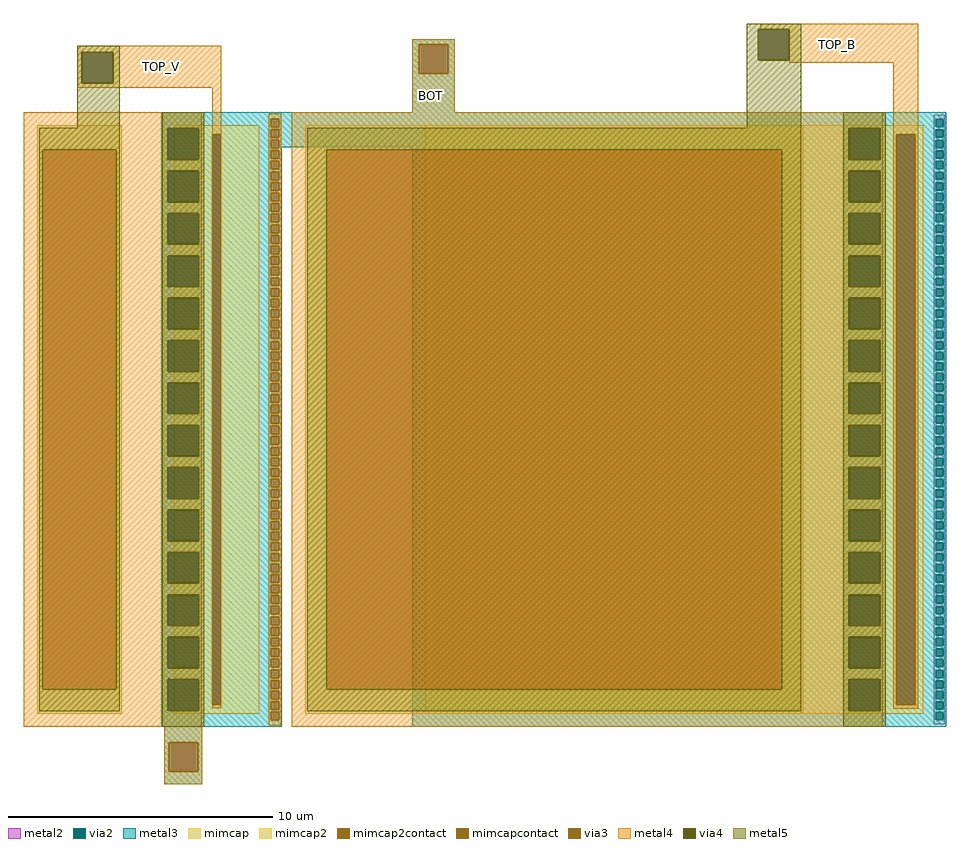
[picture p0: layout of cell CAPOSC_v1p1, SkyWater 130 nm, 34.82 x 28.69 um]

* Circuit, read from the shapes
.subckt CAPOSC_v1p1 BOT TOP_V TOP_B
XC1 TOP_V BOT sky130_fd_pr__cap_mim_m3_2 w=3.2 l=22.2
XC2 TOP_V BOT sky130_fd_pr__cap_mim_m3_1 w=3.2 l=22.2
XC3 TOP_B BOT sky130_fd_pr__cap_mim_m3_2 w=18.8 l=22.2
XC4 TOP_B BOT sky130_fd_pr__cap_mim_m3_1 w=18.8 l=22.2
.ends

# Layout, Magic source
magic
tech sky130A
magscale 1 2
<< metal2 >>
rect 9938 4588 10022 4622
rect 9938 4532 9952 4588
rect 10008 4532 10022 4588
rect 9938 4508 10022 4532
rect 9938 4452 9952 4508
rect 10008 4452 10022 4508
rect 9938 4428 10022 4452
rect 9938 4372 9952 4428
rect 10008 4372 10022 4428
rect 9938 4348 10022 4372
rect 9938 4292 9952 4348
rect 10008 4292 10022 4348
rect 9938 4268 10022 4292
rect 9938 4212 9952 4268
rect 10008 4212 10022 4268
rect 9938 4188 10022 4212
rect 9938 4132 9952 4188
rect 10008 4132 10022 4188
rect 9938 4108 10022 4132
rect 9938 4052 9952 4108
rect 10008 4052 10022 4108
rect 9938 4028 10022 4052
rect 9938 3972 9952 4028
rect 10008 3972 10022 4028
rect 9938 3948 10022 3972
rect 9938 3892 9952 3948
rect 10008 3892 10022 3948
rect 9938 3868 10022 3892
rect 9938 3812 9952 3868
rect 10008 3812 10022 3868
rect 9938 3788 10022 3812
rect 9938 3732 9952 3788
rect 10008 3732 10022 3788
rect 9938 3708 10022 3732
rect 9938 3652 9952 3708
rect 10008 3652 10022 3708
rect 9938 3628 10022 3652
rect 9938 3572 9952 3628
rect 10008 3572 10022 3628
rect 9938 3548 10022 3572
rect 9938 3492 9952 3548
rect 10008 3492 10022 3548
rect 9938 3468 10022 3492
rect 9938 3412 9952 3468
rect 10008 3412 10022 3468
rect 9938 3388 10022 3412
rect 9938 3332 9952 3388
rect 10008 3332 10022 3388
rect 9938 3308 10022 3332
rect 9938 3252 9952 3308
rect 10008 3252 10022 3308
rect 9938 3228 10022 3252
rect 9938 3172 9952 3228
rect 10008 3172 10022 3228
rect 9938 3148 10022 3172
rect 9938 3092 9952 3148
rect 10008 3092 10022 3148
rect 9938 3068 10022 3092
rect 9938 3012 9952 3068
rect 10008 3012 10022 3068
rect 9938 2988 10022 3012
rect 9938 2932 9952 2988
rect 10008 2932 10022 2988
rect 9938 2908 10022 2932
rect 9938 2852 9952 2908
rect 10008 2852 10022 2908
rect 9938 2828 10022 2852
rect 9938 2772 9952 2828
rect 10008 2772 10022 2828
rect 9938 2748 10022 2772
rect 9938 2692 9952 2748
rect 10008 2692 10022 2748
rect 9938 2668 10022 2692
rect 9938 2612 9952 2668
rect 10008 2612 10022 2668
rect 9938 2588 10022 2612
rect 9938 2532 9952 2588
rect 10008 2532 10022 2588
rect 9938 2508 10022 2532
rect 9938 2452 9952 2508
rect 10008 2452 10022 2508
rect 9938 2428 10022 2452
rect 9938 2372 9952 2428
rect 10008 2372 10022 2428
rect 9938 2348 10022 2372
rect 9938 2292 9952 2348
rect 10008 2292 10022 2348
rect 9938 2268 10022 2292
rect 9938 2212 9952 2268
rect 10008 2212 10022 2268
rect 9938 2188 10022 2212
rect 9938 2132 9952 2188
rect 10008 2132 10022 2188
rect 9938 2108 10022 2132
rect 9938 2052 9952 2108
rect 10008 2052 10022 2108
rect 9938 2028 10022 2052
rect 9938 1972 9952 2028
rect 10008 1972 10022 2028
rect 9938 1948 10022 1972
rect 9938 1892 9952 1948
rect 10008 1892 10022 1948
rect 9938 1868 10022 1892
rect 9938 1812 9952 1868
rect 10008 1812 10022 1868
rect 9938 1788 10022 1812
rect 9938 1732 9952 1788
rect 10008 1732 10022 1788
rect 9938 1708 10022 1732
rect 9938 1652 9952 1708
rect 10008 1652 10022 1708
rect 9938 1628 10022 1652
rect 9938 1572 9952 1628
rect 10008 1572 10022 1628
rect 9938 1548 10022 1572
rect 9938 1492 9952 1548
rect 10008 1492 10022 1548
rect 9938 1468 10022 1492
rect 9938 1412 9952 1468
rect 10008 1412 10022 1468
rect 9938 1388 10022 1412
rect 9938 1332 9952 1388
rect 10008 1332 10022 1388
rect 9938 1308 10022 1332
rect 9938 1252 9952 1308
rect 10008 1252 10022 1308
rect 9938 1228 10022 1252
rect 9938 1172 9952 1228
rect 10008 1172 10022 1228
rect 9938 1148 10022 1172
rect 9938 1092 9952 1148
rect 10008 1092 10022 1148
rect 9938 1068 10022 1092
rect 9938 1012 9952 1068
rect 10008 1012 10022 1068
rect 9938 988 10022 1012
rect 9938 932 9952 988
rect 10008 932 10022 988
rect 9938 908 10022 932
rect 9938 852 9952 908
rect 10008 852 10022 908
rect 9938 828 10022 852
rect 9938 772 9952 828
rect 10008 772 10022 828
rect 9938 748 10022 772
rect 9938 692 9952 748
rect 10008 692 10022 748
rect 9938 668 10022 692
rect 9938 612 9952 668
rect 10008 612 10022 668
rect 9938 588 10022 612
rect 9938 532 9952 588
rect 10008 532 10022 588
rect 9938 508 10022 532
rect 9938 452 9952 508
rect 10008 452 10022 508
rect 9938 428 10022 452
rect 9938 372 9952 428
rect 10008 372 10022 428
rect 9938 348 10022 372
rect 9938 292 9952 348
rect 10008 292 10022 348
rect 9938 268 10022 292
rect 9938 212 9952 268
rect 10008 212 10022 268
rect 9938 188 10022 212
rect 9938 132 9952 188
rect 10008 132 10022 188
rect 9938 108 10022 132
rect 9938 52 9952 108
rect 10008 52 10022 108
rect 9938 18 10022 52
<< via2 >>
rect 9952 4532 10008 4588
rect 9952 4452 10008 4508
rect 9952 4372 10008 4428
rect 9952 4292 10008 4348
rect 9952 4212 10008 4268
rect 9952 4132 10008 4188
rect 9952 4052 10008 4108
rect 9952 3972 10008 4028
rect 9952 3892 10008 3948
rect 9952 3812 10008 3868
rect 9952 3732 10008 3788
rect 9952 3652 10008 3708
rect 9952 3572 10008 3628
rect 9952 3492 10008 3548
rect 9952 3412 10008 3468
rect 9952 3332 10008 3388
rect 9952 3252 10008 3308
rect 9952 3172 10008 3228
rect 9952 3092 10008 3148
rect 9952 3012 10008 3068
rect 9952 2932 10008 2988
rect 9952 2852 10008 2908
rect 9952 2772 10008 2828
rect 9952 2692 10008 2748
rect 9952 2612 10008 2668
rect 9952 2532 10008 2588
rect 9952 2452 10008 2508
rect 9952 2372 10008 2428
rect 9952 2292 10008 2348
rect 9952 2212 10008 2268
rect 9952 2132 10008 2188
rect 9952 2052 10008 2108
rect 9952 1972 10008 2028
rect 9952 1892 10008 1948
rect 9952 1812 10008 1868
rect 9952 1732 10008 1788
rect 9952 1652 10008 1708
rect 9952 1572 10008 1628
rect 9952 1492 10008 1548
rect 9952 1412 10008 1468
rect 9952 1332 10008 1388
rect 9952 1252 10008 1308
rect 9952 1172 10008 1228
rect 9952 1092 10008 1148
rect 9952 1012 10008 1068
rect 9952 932 10008 988
rect 9952 852 10008 908
rect 9952 772 10008 828
rect 9952 692 10008 748
rect 9952 612 10008 668
rect 9952 532 10008 588
rect 9952 452 10008 508
rect 9952 372 10008 428
rect 9952 292 10008 348
rect 9952 212 10008 268
rect 9952 132 10008 188
rect 9952 52 10008 108
<< metal3 >>
rect 6000 5154 6320 5190
rect 6000 4930 6048 5154
rect 6272 4930 6320 5154
rect 6000 4640 6320 4930
rect 5016 4588 10032 4640
rect 5016 4532 9952 4588
rect 10008 4532 10032 4588
rect 5016 4508 10032 4532
rect 5016 4452 9952 4508
rect 10008 4452 10032 4508
rect 5016 4428 10032 4452
rect 5016 4374 9952 4428
rect 6000 4372 9952 4374
rect 10008 4372 10032 4428
rect 6000 4348 10032 4372
rect 6000 4292 9952 4348
rect 10008 4292 10032 4348
rect 6000 4268 10032 4292
rect 6000 4212 9952 4268
rect 10008 4212 10032 4268
rect 6000 4188 10032 4212
rect 6000 4132 9952 4188
rect 10008 4132 10032 4188
rect 6000 4108 10032 4132
rect 6000 4052 9952 4108
rect 10008 4052 10032 4108
rect 6000 4028 10032 4052
rect 6000 3972 9952 4028
rect 10008 3972 10032 4028
rect 6000 3948 10032 3972
rect 6000 3892 9952 3948
rect 10008 3892 10032 3948
rect 6000 3868 10032 3892
rect 6000 3812 9952 3868
rect 10008 3812 10032 3868
rect 6000 3788 10032 3812
rect 6000 3732 9952 3788
rect 10008 3732 10032 3788
rect 6000 3708 10032 3732
rect 6000 3652 9952 3708
rect 10008 3652 10032 3708
rect 6000 3628 10032 3652
rect 6000 3572 9952 3628
rect 10008 3572 10032 3628
rect 6000 3548 10032 3572
rect 6000 3492 9952 3548
rect 10008 3492 10032 3548
rect 6000 3468 10032 3492
rect 6000 3412 9952 3468
rect 10008 3412 10032 3468
rect 6000 3388 10032 3412
rect 6000 3332 9952 3388
rect 10008 3332 10032 3388
rect 6000 3308 10032 3332
rect 6000 3252 9952 3308
rect 10008 3252 10032 3308
rect 6000 3228 10032 3252
rect 6000 3172 9952 3228
rect 10008 3172 10032 3228
rect 6000 3148 10032 3172
rect 6000 3092 9952 3148
rect 10008 3092 10032 3148
rect 6000 3068 10032 3092
rect 6000 3012 9952 3068
rect 10008 3012 10032 3068
rect 6000 2988 10032 3012
rect 6000 2932 9952 2988
rect 10008 2932 10032 2988
rect 6000 2908 10032 2932
rect 6000 2852 9952 2908
rect 10008 2852 10032 2908
rect 6000 2828 10032 2852
rect 6000 2772 9952 2828
rect 10008 2772 10032 2828
rect 6000 2748 10032 2772
rect 6000 2692 9952 2748
rect 10008 2692 10032 2748
rect 6000 2668 10032 2692
rect 6000 2612 9952 2668
rect 10008 2612 10032 2668
rect 6000 2588 10032 2612
rect 6000 2532 9952 2588
rect 10008 2532 10032 2588
rect 6000 2508 10032 2532
rect 6000 2452 9952 2508
rect 10008 2452 10032 2508
rect 6000 2428 10032 2452
rect 6000 2372 9952 2428
rect 10008 2372 10032 2428
rect 6000 2348 10032 2372
rect 6000 2292 9952 2348
rect 10008 2292 10032 2348
rect 6000 2268 10032 2292
rect 6000 2212 9952 2268
rect 10008 2212 10032 2268
rect 6000 2188 10032 2212
rect 6000 2132 9952 2188
rect 10008 2132 10032 2188
rect 6000 2108 10032 2132
rect 6000 2052 9952 2108
rect 10008 2052 10032 2108
rect 6000 2028 10032 2052
rect 6000 1972 9952 2028
rect 10008 1972 10032 2028
rect 6000 1948 10032 1972
rect 6000 1892 9952 1948
rect 10008 1892 10032 1948
rect 6000 1868 10032 1892
rect 6000 1812 9952 1868
rect 10008 1812 10032 1868
rect 6000 1788 10032 1812
rect 6000 1732 9952 1788
rect 10008 1732 10032 1788
rect 6000 1708 10032 1732
rect 6000 1652 9952 1708
rect 10008 1652 10032 1708
rect 6000 1628 10032 1652
rect 6000 1572 9952 1628
rect 10008 1572 10032 1628
rect 6000 1548 10032 1572
rect 6000 1492 9952 1548
rect 10008 1492 10032 1548
rect 6000 1468 10032 1492
rect 6000 1412 9952 1468
rect 10008 1412 10032 1468
rect 6000 1388 10032 1412
rect 6000 1332 9952 1388
rect 10008 1332 10032 1388
rect 6000 1308 10032 1332
rect 6000 1252 9952 1308
rect 10008 1252 10032 1308
rect 6000 1228 10032 1252
rect 6000 1172 9952 1228
rect 10008 1172 10032 1228
rect 6000 1148 10032 1172
rect 6000 1092 9952 1148
rect 10008 1092 10032 1148
rect 6000 1068 10032 1092
rect 6000 1012 9952 1068
rect 10008 1012 10032 1068
rect 6000 988 10032 1012
rect 6000 932 9952 988
rect 10008 932 10032 988
rect 6000 908 10032 932
rect 6000 852 9952 908
rect 10008 852 10032 908
rect 6000 828 10032 852
rect 6000 772 9952 828
rect 10008 772 10032 828
rect 6000 748 10032 772
rect 6000 692 9952 748
rect 10008 692 10032 748
rect 6000 668 10032 692
rect 6000 612 9952 668
rect 10008 612 10032 668
rect 6000 588 10032 612
rect 6000 532 9952 588
rect 10008 532 10032 588
rect 6000 508 10032 532
rect 6000 452 9952 508
rect 10008 452 10032 508
rect 6000 428 10032 452
rect 6000 372 9952 428
rect 10008 372 10032 428
rect 6000 348 10032 372
rect 6000 292 9952 348
rect 10008 292 10032 348
rect 6000 268 10032 292
rect 6000 212 9952 268
rect 10008 212 10032 268
rect 6000 188 10032 212
rect 6000 132 9952 188
rect 10008 132 10032 188
rect 6000 108 10032 132
rect 6000 52 9952 108
rect 10008 52 10032 108
rect 4130 -116 4414 2
rect 6000 0 10032 52
rect 4130 -340 4162 -116
rect 4386 -340 4414 -116
rect 4130 -432 4414 -340
<< via3 >>
rect 6048 4930 6272 5154
rect 4162 -340 4386 -116
<< mimcap >>
rect 6100 4472 9860 4540
rect 6100 168 9656 4472
rect 9800 168 9860 4472
rect 6100 100 9860 168
<< mimcapcontact >>
rect 9656 168 9800 4472
<< metal4 >>
rect 8628 5268 9822 5306
rect 6000 5154 6320 5190
rect 3470 5094 4558 5142
rect 3470 4858 3506 5094
rect 3742 4858 4558 5094
rect 3470 4826 4558 4858
rect 4490 4498 4558 4826
rect 6000 4930 6048 5154
rect 6272 4930 6320 5154
rect 8848 5014 9822 5268
rect 6000 4640 6320 4930
rect 9634 4472 9822 5014
rect 9634 168 9656 4472
rect 9800 168 9822 4472
rect 9634 138 9822 168
rect 4130 -116 4414 2
rect 4130 -340 4162 -116
rect 4386 -340 4414 -116
rect 4130 -432 4414 -340
<< via4 >>
rect 3506 4858 3742 5094
rect 8612 5032 8848 5268
<< metal5 >>
rect 8526 5268 8936 5306
rect 3472 5094 3792 5140
rect 3472 4858 3506 5094
rect 3742 4858 3792 5094
rect 3472 4524 3792 4858
rect 8526 5032 8612 5268
rect 8848 5032 8936 5268
rect 3472 4500 3506 4524
rect 8526 4500 8936 5032
use sky130_fd_pr__cap_mim_m3_1_9K4XRG  sky130_fd_pr__cap_mim_m3_1_9K4XRG_0
transform 1 0 4560 0 1 2320
box -456 -2320 456 2320
use sky130_fd_pr__cap_mim_m3_2_4SGG6N  sky130_fd_pr__cap_mim_m3_2_4SGG6N_0
transform 1 0 7323 0 1 2320
box -2231 -2321 2253 2321
use sky130_fd_pr__cap_mim_m3_2_7PBNAZ  sky130_fd_pr__cap_mim_m3_2_7PBNAZ_0
transform 1 0 3739 0 1 2320
box -671 -2321 693 2321
<< labels >>
flabel metal4 s 6140 4764 6140 4764 0 FreeSans 2000 0 0 0 BOT
port 1 nsew
flabel metal4 s 4110 4986 4110 4986 0 FreeSans 2000 0 0 0 TOP_V
port 2 nsew
flabel metal4 s 9210 5152 9210 5152 0 FreeSans 2000 0 0 0 TOP_B
port 3 nsew
<< end >>

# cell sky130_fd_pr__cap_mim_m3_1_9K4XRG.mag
magic
tech sky130A
magscale 1 2
<< metal3 >>
rect -456 2272 456 2320
rect -456 2208 372 2272
rect 436 2208 456 2272
rect -456 2192 456 2208
rect -456 2128 372 2192
rect 436 2128 456 2192
rect -456 2112 456 2128
rect -456 2048 372 2112
rect 436 2048 456 2112
rect -456 2032 456 2048
rect -456 1968 372 2032
rect 436 1968 456 2032
rect -456 1952 456 1968
rect -456 1888 372 1952
rect 436 1888 456 1952
rect -456 1872 456 1888
rect -456 1808 372 1872
rect 436 1808 456 1872
rect -456 1792 456 1808
rect -456 1728 372 1792
rect 436 1728 456 1792
rect -456 1712 456 1728
rect -456 1648 372 1712
rect 436 1648 456 1712
rect -456 1632 456 1648
rect -456 1568 372 1632
rect 436 1568 456 1632
rect -456 1552 456 1568
rect -456 1488 372 1552
rect 436 1488 456 1552
rect -456 1472 456 1488
rect -456 1408 372 1472
rect 436 1408 456 1472
rect -456 1392 456 1408
rect -456 1328 372 1392
rect 436 1328 456 1392
rect -456 1312 456 1328
rect -456 1248 372 1312
rect 436 1248 456 1312
rect -456 1232 456 1248
rect -456 1168 372 1232
rect 436 1168 456 1232
rect -456 1152 456 1168
rect -456 1088 372 1152
rect 436 1088 456 1152
rect -456 1072 456 1088
rect -456 1008 372 1072
rect 436 1008 456 1072
rect -456 992 456 1008
rect -456 928 372 992
rect 436 928 456 992
rect -456 912 456 928
rect -456 848 372 912
rect 436 848 456 912
rect -456 832 456 848
rect -456 768 372 832
rect 436 768 456 832
rect -456 752 456 768
rect -456 688 372 752
rect 436 688 456 752
rect -456 672 456 688
rect -456 608 372 672
rect 436 608 456 672
rect -456 592 456 608
rect -456 528 372 592
rect 436 528 456 592
rect -456 512 456 528
rect -456 448 372 512
rect 436 448 456 512
rect -456 432 456 448
rect -456 368 372 432
rect 436 368 456 432
rect -456 352 456 368
rect -456 288 372 352
rect 436 288 456 352
rect -456 272 456 288
rect -456 208 372 272
rect 436 208 456 272
rect -456 192 456 208
rect -456 128 372 192
rect 436 128 456 192
rect -456 112 456 128
rect -456 48 372 112
rect 436 48 456 112
rect -456 32 456 48
rect -456 -32 372 32
rect 436 -32 456 32
rect -456 -48 456 -32
rect -456 -112 372 -48
rect 436 -112 456 -48
rect -456 -128 456 -112
rect -456 -192 372 -128
rect 436 -192 456 -128
rect -456 -208 456 -192
rect -456 -272 372 -208
rect 436 -272 456 -208
rect -456 -288 456 -272
rect -456 -352 372 -288
rect 436 -352 456 -288
rect -456 -368 456 -352
rect -456 -432 372 -368
rect 436 -432 456 -368
rect -456 -448 456 -432
rect -456 -512 372 -448
rect 436 -512 456 -448
rect -456 -528 456 -512
rect -456 -592 372 -528
rect 436 -592 456 -528
rect -456 -608 456 -592
rect -456 -672 372 -608
rect 436 -672 456 -608
rect -456 -688 456 -672
rect -456 -752 372 -688
rect 436 -752 456 -688
rect -456 -768 456 -752
rect -456 -832 372 -768
rect 436 -832 456 -768
rect -456 -848 456 -832
rect -456 -912 372 -848
rect 436 -912 456 -848
rect -456 -928 456 -912
rect -456 -992 372 -928
rect 436 -992 456 -928
rect -456 -1008 456 -992
rect -456 -1072 372 -1008
rect 436 -1072 456 -1008
rect -456 -1088 456 -1072
rect -456 -1152 372 -1088
rect 436 -1152 456 -1088
rect -456 -1168 456 -1152
rect -456 -1232 372 -1168
rect 436 -1232 456 -1168
rect -456 -1248 456 -1232
rect -456 -1312 372 -1248
rect 436 -1312 456 -1248
rect -456 -1328 456 -1312
rect -456 -1392 372 -1328
rect 436 -1392 456 -1328
rect -456 -1408 456 -1392
rect -456 -1472 372 -1408
rect 436 -1472 456 -1408
rect -456 -1488 456 -1472
rect -456 -1552 372 -1488
rect 436 -1552 456 -1488
rect -456 -1568 456 -1552
rect -456 -1632 372 -1568
rect 436 -1632 456 -1568
rect -456 -1648 456 -1632
rect -456 -1712 372 -1648
rect 436 -1712 456 -1648
rect -456 -1728 456 -1712
rect -456 -1792 372 -1728
rect 436 -1792 456 -1728
rect -456 -1808 456 -1792
rect -456 -1872 372 -1808
rect 436 -1872 456 -1808
rect -456 -1888 456 -1872
rect -456 -1952 372 -1888
rect 436 -1952 456 -1888
rect -456 -1968 456 -1952
rect -456 -2032 372 -1968
rect 436 -2032 456 -1968
rect -456 -2048 456 -2032
rect -456 -2112 372 -2048
rect 436 -2112 456 -2048
rect -456 -2128 456 -2112
rect -456 -2192 372 -2128
rect 436 -2192 456 -2128
rect -456 -2208 456 -2192
rect -456 -2272 372 -2208
rect 436 -2272 456 -2208
rect -456 -2320 456 -2272
<< via3 >>
rect 372 2208 436 2272
rect 372 2128 436 2192
rect 372 2048 436 2112
rect 372 1968 436 2032
rect 372 1888 436 1952
rect 372 1808 436 1872
rect 372 1728 436 1792
rect 372 1648 436 1712
rect 372 1568 436 1632
rect 372 1488 436 1552
rect 372 1408 436 1472
rect 372 1328 436 1392
rect 372 1248 436 1312
rect 372 1168 436 1232
rect 372 1088 436 1152
rect 372 1008 436 1072
rect 372 928 436 992
rect 372 848 436 912
rect 372 768 436 832
rect 372 688 436 752
rect 372 608 436 672
rect 372 528 436 592
rect 372 448 436 512
rect 372 368 436 432
rect 372 288 436 352
rect 372 208 436 272
rect 372 128 436 192
rect 372 48 436 112
rect 372 -32 436 32
rect 372 -112 436 -48
rect 372 -192 436 -128
rect 372 -272 436 -208
rect 372 -352 436 -288
rect 372 -432 436 -368
rect 372 -512 436 -448
rect 372 -592 436 -528
rect 372 -672 436 -608
rect 372 -752 436 -688
rect 372 -832 436 -768
rect 372 -912 436 -848
rect 372 -992 436 -928
rect 372 -1072 436 -1008
rect 372 -1152 436 -1088
rect 372 -1232 436 -1168
rect 372 -1312 436 -1248
rect 372 -1392 436 -1328
rect 372 -1472 436 -1408
rect 372 -1552 436 -1488
rect 372 -1632 436 -1568
rect 372 -1712 436 -1648
rect 372 -1792 436 -1728
rect 372 -1872 436 -1808
rect 372 -1952 436 -1888
rect 372 -2032 436 -1968
rect 372 -2112 436 -2048
rect 372 -2192 436 -2128
rect 372 -2272 436 -2208
<< mimcap >>
rect -356 2152 284 2220
rect -356 -2152 -68 2152
rect -4 -2152 284 2152
rect -356 -2220 284 -2152
<< mimcapcontact >>
rect -68 -2152 -4 2152
<< metal4 >>
rect 356 2272 452 2308
rect 356 2208 372 2272
rect 436 2208 452 2272
rect 356 2192 452 2208
rect -69 2152 -3 2181
rect -69 -2152 -68 2152
rect -4 -2152 -3 2152
rect -69 -2181 -3 -2152
rect 356 2128 372 2192
rect 436 2128 452 2192
rect 356 2112 452 2128
rect 356 2048 372 2112
rect 436 2048 452 2112
rect 356 2032 452 2048
rect 356 1968 372 2032
rect 436 1968 452 2032
rect 356 1952 452 1968
rect 356 1888 372 1952
rect 436 1888 452 1952
rect 356 1872 452 1888
rect 356 1808 372 1872
rect 436 1808 452 1872
rect 356 1792 452 1808
rect 356 1728 372 1792
rect 436 1728 452 1792
rect 356 1712 452 1728
rect 356 1648 372 1712
rect 436 1648 452 1712
rect 356 1632 452 1648
rect 356 1568 372 1632
rect 436 1568 452 1632
rect 356 1552 452 1568
rect 356 1488 372 1552
rect 436 1488 452 1552
rect 356 1472 452 1488
rect 356 1408 372 1472
rect 436 1408 452 1472
rect 356 1392 452 1408
rect 356 1328 372 1392
rect 436 1328 452 1392
rect 356 1312 452 1328
rect 356 1248 372 1312
rect 436 1248 452 1312
rect 356 1232 452 1248
rect 356 1168 372 1232
rect 436 1168 452 1232
rect 356 1152 452 1168
rect 356 1088 372 1152
rect 436 1088 452 1152
rect 356 1072 452 1088
rect 356 1008 372 1072
rect 436 1008 452 1072
rect 356 992 452 1008
rect 356 928 372 992
rect 436 928 452 992
rect 356 912 452 928
rect 356 848 372 912
rect 436 848 452 912
rect 356 832 452 848
rect 356 768 372 832
rect 436 768 452 832
rect 356 752 452 768
rect 356 688 372 752
rect 436 688 452 752
rect 356 672 452 688
rect 356 608 372 672
rect 436 608 452 672
rect 356 592 452 608
rect 356 528 372 592
rect 436 528 452 592
rect 356 512 452 528
rect 356 448 372 512
rect 436 448 452 512
rect 356 432 452 448
rect 356 368 372 432
rect 436 368 452 432
rect 356 352 452 368
rect 356 288 372 352
rect 436 288 452 352
rect 356 272 452 288
rect 356 208 372 272
rect 436 208 452 272
rect 356 192 452 208
rect 356 128 372 192
rect 436 128 452 192
rect 356 112 452 128
rect 356 48 372 112
rect 436 48 452 112
rect 356 32 452 48
rect 356 -32 372 32
rect 436 -32 452 32
rect 356 -48 452 -32
rect 356 -112 372 -48
rect 436 -112 452 -48
rect 356 -128 452 -112
rect 356 -192 372 -128
rect 436 -192 452 -128
rect 356 -208 452 -192
rect 356 -272 372 -208
rect 436 -272 452 -208
rect 356 -288 452 -272
rect 356 -352 372 -288
rect 436 -352 452 -288
rect 356 -368 452 -352
rect 356 -432 372 -368
rect 436 -432 452 -368
rect 356 -448 452 -432
rect 356 -512 372 -448
rect 436 -512 452 -448
rect 356 -528 452 -512
rect 356 -592 372 -528
rect 436 -592 452 -528
rect 356 -608 452 -592
rect 356 -672 372 -608
rect 436 -672 452 -608
rect 356 -688 452 -672
rect 356 -752 372 -688
rect 436 -752 452 -688
rect 356 -768 452 -752
rect 356 -832 372 -768
rect 436 -832 452 -768
rect 356 -848 452 -832
rect 356 -912 372 -848
rect 436 -912 452 -848
rect 356 -928 452 -912
rect 356 -992 372 -928
rect 436 -992 452 -928
rect 356 -1008 452 -992
rect 356 -1072 372 -1008
rect 436 -1072 452 -1008
rect 356 -1088 452 -1072
rect 356 -1152 372 -1088
rect 436 -1152 452 -1088
rect 356 -1168 452 -1152
rect 356 -1232 372 -1168
rect 436 -1232 452 -1168
rect 356 -1248 452 -1232
rect 356 -1312 372 -1248
rect 436 -1312 452 -1248
rect 356 -1328 452 -1312
rect 356 -1392 372 -1328
rect 436 -1392 452 -1328
rect 356 -1408 452 -1392
rect 356 -1472 372 -1408
rect 436 -1472 452 -1408
rect 356 -1488 452 -1472
rect 356 -1552 372 -1488
rect 436 -1552 452 -1488
rect 356 -1568 452 -1552
rect 356 -1632 372 -1568
rect 436 -1632 452 -1568
rect 356 -1648 452 -1632
rect 356 -1712 372 -1648
rect 436 -1712 452 -1648
rect 356 -1728 452 -1712
rect 356 -1792 372 -1728
rect 436 -1792 452 -1728
rect 356 -1808 452 -1792
rect 356 -1872 372 -1808
rect 436 -1872 452 -1808
rect 356 -1888 452 -1872
rect 356 -1952 372 -1888
rect 436 -1952 452 -1888
rect 356 -1968 452 -1952
rect 356 -2032 372 -1968
rect 436 -2032 452 -1968
rect 356 -2048 452 -2032
rect 356 -2112 372 -2048
rect 436 -2112 452 -2048
rect 356 -2128 452 -2112
rect 356 -2192 372 -2128
rect 436 -2192 452 -2128
rect 356 -2208 452 -2192
rect 356 -2272 372 -2208
rect 436 -2272 452 -2208
rect 356 -2308 452 -2272
<< properties >>
string FIXED_BBOX -456 -2320 384 2320
<< end >>

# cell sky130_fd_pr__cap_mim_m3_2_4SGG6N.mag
magic
tech sky130A
magscale 1 2
<< metal4 >>
rect -2231 2198 2231 2320
rect -2231 1962 1975 2198
rect 2211 1962 2231 2198
rect -2231 1878 2231 1962
rect -2231 1642 1975 1878
rect 2211 1642 2231 1878
rect -2231 1558 2231 1642
rect -2231 1322 1975 1558
rect 2211 1322 2231 1558
rect -2231 1238 2231 1322
rect -2231 1002 1975 1238
rect 2211 1002 2231 1238
rect -2231 918 2231 1002
rect -2231 682 1975 918
rect 2211 682 2231 918
rect -2231 598 2231 682
rect -2231 362 1975 598
rect 2211 362 2231 598
rect -2231 278 2231 362
rect -2231 42 1975 278
rect 2211 42 2231 278
rect -2231 -42 2231 42
rect -2231 -278 1975 -42
rect 2211 -278 2231 -42
rect -2231 -362 2231 -278
rect -2231 -598 1975 -362
rect 2211 -598 2231 -362
rect -2231 -682 2231 -598
rect -2231 -918 1975 -682
rect 2211 -918 2231 -682
rect -2231 -1002 2231 -918
rect -2231 -1238 1975 -1002
rect 2211 -1238 2231 -1002
rect -2231 -1322 2231 -1238
rect -2231 -1558 1975 -1322
rect 2211 -1558 2231 -1322
rect -2231 -1642 2231 -1558
rect -2231 -1878 1975 -1642
rect 2211 -1878 2231 -1642
rect -2231 -1962 2231 -1878
rect -2231 -2198 1975 -1962
rect 2211 -2198 2231 -1962
rect -2231 -2320 2231 -2198
<< via4 >>
rect 1975 1962 2211 2198
rect 1975 1642 2211 1878
rect 1975 1322 2211 1558
rect 1975 1002 2211 1238
rect 1975 682 2211 918
rect 1975 362 2211 598
rect 1975 42 2211 278
rect 1975 -278 2211 -42
rect 1975 -598 2211 -362
rect 1975 -918 2211 -682
rect 1975 -1238 2211 -1002
rect 1975 -1558 2211 -1322
rect 1975 -1878 2211 -1642
rect 1975 -2198 2211 -1962
<< mimcap2 >>
rect -2131 2038 1629 2220
rect -2131 -2038 -1969 2038
rect 1467 -2038 1629 2038
rect -2131 -2220 1629 -2038
<< mimcap2contact >>
rect -1969 -2038 1467 2038
<< metal5 >>
rect -2115 2038 1613 2204
rect -2115 -2038 -1969 2038
rect 1467 -2038 1613 2038
rect -2115 -2204 1613 -2038
rect 1933 2198 2253 2321
rect 1933 1962 1975 2198
rect 2211 1962 2253 2198
rect 1933 1878 2253 1962
rect 1933 1642 1975 1878
rect 2211 1642 2253 1878
rect 1933 1558 2253 1642
rect 1933 1322 1975 1558
rect 2211 1322 2253 1558
rect 1933 1238 2253 1322
rect 1933 1002 1975 1238
rect 2211 1002 2253 1238
rect 1933 918 2253 1002
rect 1933 682 1975 918
rect 2211 682 2253 918
rect 1933 598 2253 682
rect 1933 362 1975 598
rect 2211 362 2253 598
rect 1933 278 2253 362
rect 1933 42 1975 278
rect 2211 42 2253 278
rect 1933 -42 2253 42
rect 1933 -278 1975 -42
rect 2211 -278 2253 -42
rect 1933 -362 2253 -278
rect 1933 -598 1975 -362
rect 2211 -598 2253 -362
rect 1933 -682 2253 -598
rect 1933 -918 1975 -682
rect 2211 -918 2253 -682
rect 1933 -1002 2253 -918
rect 1933 -1238 1975 -1002
rect 2211 -1238 2253 -1002
rect 1933 -1322 2253 -1238
rect 1933 -1558 1975 -1322
rect 2211 -1558 2253 -1322
rect 1933 -1642 2253 -1558
rect 1933 -1878 1975 -1642
rect 2211 -1878 2253 -1642
rect 1933 -1962 2253 -1878
rect 1933 -2198 1975 -1962
rect 2211 -2198 2253 -1962
rect 1933 -2321 2253 -2198
<< properties >>
string FIXED_BBOX -2231 -2320 1729 2320
<< end >>

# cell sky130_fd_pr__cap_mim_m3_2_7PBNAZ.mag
magic
tech sky130A
magscale 1 2
<< metal4 >>
rect -671 2198 671 2320
rect -671 1962 415 2198
rect 651 1962 671 2198
rect -671 1878 671 1962
rect -671 1642 415 1878
rect 651 1642 671 1878
rect -671 1558 671 1642
rect -671 1322 415 1558
rect 651 1322 671 1558
rect -671 1238 671 1322
rect -671 1002 415 1238
rect 651 1002 671 1238
rect -671 918 671 1002
rect -671 682 415 918
rect 651 682 671 918
rect -671 598 671 682
rect -671 362 415 598
rect 651 362 671 598
rect -671 278 671 362
rect -671 42 415 278
rect 651 42 671 278
rect -671 -42 671 42
rect -671 -278 415 -42
rect 651 -278 671 -42
rect -671 -362 671 -278
rect -671 -598 415 -362
rect 651 -598 671 -362
rect -671 -682 671 -598
rect -671 -918 415 -682
rect 651 -918 671 -682
rect -671 -1002 671 -918
rect -671 -1238 415 -1002
rect 651 -1238 671 -1002
rect -671 -1322 671 -1238
rect -671 -1558 415 -1322
rect 651 -1558 671 -1322
rect -671 -1642 671 -1558
rect -671 -1878 415 -1642
rect 651 -1878 671 -1642
rect -671 -1962 671 -1878
rect -671 -2198 415 -1962
rect 651 -2198 671 -1962
rect -671 -2320 671 -2198
<< via4 >>
rect 415 1962 651 2198
rect 415 1642 651 1878
rect 415 1322 651 1558
rect 415 1002 651 1238
rect 415 682 651 918
rect 415 362 651 598
rect 415 42 651 278
rect 415 -278 651 -42
rect 415 -598 651 -362
rect 415 -918 651 -682
rect 415 -1238 651 -1002
rect 415 -1558 651 -1322
rect 415 -1878 651 -1642
rect 415 -2198 651 -1962
<< mimcap2 >>
rect -571 2038 69 2220
rect -571 -2038 -529 2038
rect 27 -2038 69 2038
rect -571 -2220 69 -2038
<< mimcap2contact >>
rect -529 -2038 27 2038
<< metal5 >>
rect -555 2038 53 2204
rect -555 -2038 -529 2038
rect 27 -2038 53 2038
rect -555 -2204 53 -2038
rect 373 2198 693 2321
rect 373 1962 415 2198
rect 651 1962 693 2198
rect 373 1878 693 1962
rect 373 1642 415 1878
rect 651 1642 693 1878
rect 373 1558 693 1642
rect 373 1322 415 1558
rect 651 1322 693 1558
rect 373 1238 693 1322
rect 373 1002 415 1238
rect 651 1002 693 1238
rect 373 918 693 1002
rect 373 682 415 918
rect 651 682 693 918
rect 373 598 693 682
rect 373 362 415 598
rect 651 362 693 598
rect 373 278 693 362
rect 373 42 415 278
rect 651 42 693 278
rect 373 -42 693 42
rect 373 -278 415 -42
rect 651 -278 693 -42
rect 373 -362 693 -278
rect 373 -598 415 -362
rect 651 -598 693 -362
rect 373 -682 693 -598
rect 373 -918 415 -682
rect 651 -918 693 -682
rect 373 -1002 693 -918
rect 373 -1238 415 -1002
rect 651 -1238 693 -1002
rect 373 -1322 693 -1238
rect 373 -1558 415 -1322
rect 651 -1558 693 -1322
rect 373 -1642 693 -1558
rect 373 -1878 415 -1642
rect 651 -1878 693 -1642
rect 373 -1962 693 -1878
rect 373 -2198 415 -1962
rect 651 -2198 693 -1962
rect 373 -2321 693 -2198
<< properties >>
string FIXED_BBOX -671 -2320 169 2320
<< end >>
